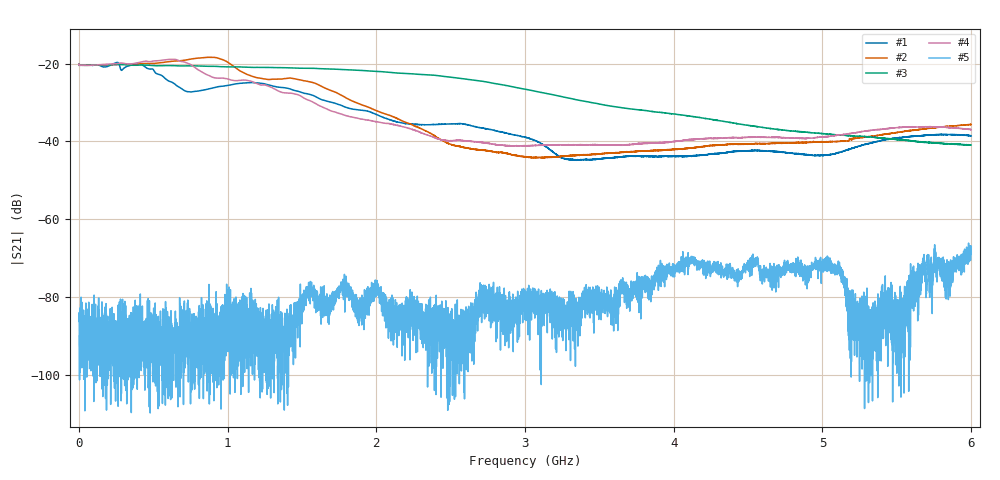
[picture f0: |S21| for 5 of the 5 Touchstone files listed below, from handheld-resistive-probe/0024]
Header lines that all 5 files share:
! Ref Plane: 0.000 mm
# MHZ S MA R  50
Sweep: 300 kHz to 6 GHz
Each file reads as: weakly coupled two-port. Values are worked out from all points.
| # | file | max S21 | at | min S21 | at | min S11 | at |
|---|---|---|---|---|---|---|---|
| 1 | flexground.s2p | -19.69 dB | 255.3 MHz | -44.9 dB | 3.344 GHz | -26.4 dB | 300 kHz |
| 2 | leafground.s2p | -18.37 dB | 883.5 MHz | -44.2 dB | 3.127 GHz | -26.5 dB | 300 kHz |
| 3 | tipground.s2p | -20.10 dB | 300 kHz | -40.9 dB | 5.986 GHz | -26.4 dB | 300 kHz |
| 4 | zground.s2p | -18.88 dB | 623.1 MHz | -41.2 dB | 2.923 GHz | -26.4 dB | 300 kHz |
| 5 | zin.s2p | -66.12 dB | 5.983 GHz | -109.8 dB | 479.7 MHz | -5.8 dB | 2.64 GHz |
